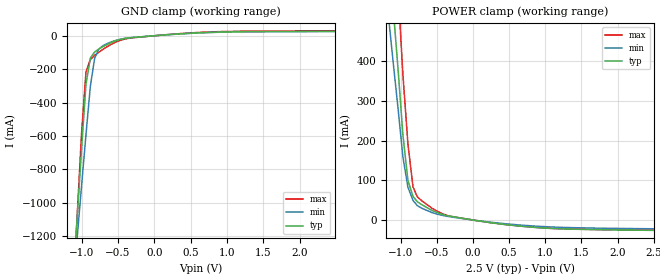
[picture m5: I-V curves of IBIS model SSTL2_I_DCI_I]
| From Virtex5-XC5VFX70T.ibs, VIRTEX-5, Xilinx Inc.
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|   Model SSTL2_I_DCI_I
[Model]  SSTL2_I_DCI_I
Model_type Input
Polarity   Non-Inverting
Vinl = 1.1
Vinh = 1.4
C_comp   6.0000pF   6.0000pF   6.0000pF
[Model Spec]
Vinl   1.1   1.0   1.2
Vinh   1.4   1.3   1.5
[Temperature Range]   25.0000   85.0000   0.0
[Voltage Range]   2.5000V   2.3000V   2.7000V
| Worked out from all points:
|   POWER clamp passes 1 mA (typ) near -0.03 V on its own axis
[GND_clamp]
|Voltage   I(typ)   I(min)   I(max)
-2.5V     -11.29A    -8.71A     -13.54A
-1.12V    -1.502A    -1.515A    -1.577A
-1.06V    -1.082A    -1.204A    -1.069A
-1V       -672.7mA   -895.4mA   -579.7mA
-940mV    -290mA     -592.1mA   -216.7mA
-880mV    -133.8mA   -303.6mA   -142.3mA
-820mV    -96.95mA   -132.9mA   -117.1mA
-760mV    -78.6mA    -78.02mA   -97.59mA
-700mV    -63.46mA   -57.7mA    -79.66mA
-400mV    -15.72mA   -15.39mA   -19.14mA
260mV     8.639mA    8.241mA    9.893mA
2.48V     26.05mA    25.53mA    29.1mA
[POWER_clamp]
|Voltage   I(typ)   I(min)   I(max)
-2.5V     3.927A     3.015A     4.854A
-1.17V    685mA      514mA      947mA
-1.1V     524mA      390mA      752mA
-1.03V    364mA      269mA      558mA
-970mV    215mA      159mA      367mA
-900mV    99.32mA    82.33mA    191mA
-830mV    59.38mA    49.35mA    83.39mA
-770mV    46.03mA    36.09mA    58.31mA
-700mV    37.75mA    28.93mA    47.2mA
-370mV    11.52mA    9.632mA    12.03mA
430mV     -11.13mA   -9.112mA   -10.96mA
2.5V      -26.04mA   -22.08mA   -25.55mA
